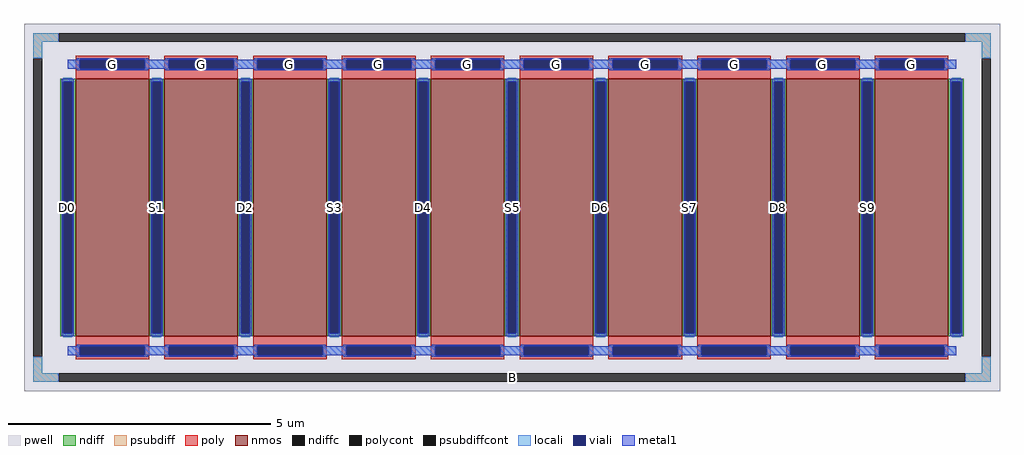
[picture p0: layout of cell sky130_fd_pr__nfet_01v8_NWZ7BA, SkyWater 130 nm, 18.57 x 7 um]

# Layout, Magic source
magic
tech sky130A
magscale 1 2
<< pwell >>
rect -1857 -700 1857 700
<< nmos >>
rect -1661 -490 -1381 490
rect -1323 -490 -1043 490
rect -985 -490 -705 490
rect -647 -490 -367 490
rect -309 -490 -29 490
rect 29 -490 309 490
rect 367 -490 647 490
rect 705 -490 985 490
rect 1043 -490 1323 490
rect 1381 -490 1661 490
<< ndiff >>
rect -1719 478 -1661 490
rect -1719 -478 -1707 478
rect -1673 -478 -1661 478
rect -1719 -490 -1661 -478
rect -1381 478 -1323 490
rect -1381 -478 -1369 478
rect -1335 -478 -1323 478
rect -1381 -490 -1323 -478
rect -1043 478 -985 490
rect -1043 -478 -1031 478
rect -997 -478 -985 478
rect -1043 -490 -985 -478
rect -705 478 -647 490
rect -705 -478 -693 478
rect -659 -478 -647 478
rect -705 -490 -647 -478
rect -367 478 -309 490
rect -367 -478 -355 478
rect -321 -478 -309 478
rect -367 -490 -309 -478
rect -29 478 29 490
rect -29 -478 -17 478
rect 17 -478 29 478
rect -29 -490 29 -478
rect 309 478 367 490
rect 309 -478 321 478
rect 355 -478 367 478
rect 309 -490 367 -478
rect 647 478 705 490
rect 647 -478 659 478
rect 693 -478 705 478
rect 647 -490 705 -478
rect 985 478 1043 490
rect 985 -478 997 478
rect 1031 -478 1043 478
rect 985 -490 1043 -478
rect 1323 478 1381 490
rect 1323 -478 1335 478
rect 1369 -478 1381 478
rect 1323 -490 1381 -478
rect 1661 478 1719 490
rect 1661 -478 1673 478
rect 1707 -478 1719 478
rect 1661 -490 1719 -478
<< ndiffc >>
rect -1707 -478 -1673 478
rect -1369 -478 -1335 478
rect -1031 -478 -997 478
rect -693 -478 -659 478
rect -355 -478 -321 478
rect -17 -478 17 478
rect 321 -478 355 478
rect 659 -478 693 478
rect 997 -478 1031 478
rect 1335 -478 1369 478
rect 1673 -478 1707 478
<< psubdiff >>
rect -1821 630 -1725 664
rect 1725 630 1821 664
rect -1821 568 -1787 630
rect 1787 568 1821 630
rect -1821 -630 -1787 -568
rect 1787 -630 1821 -568
rect -1821 -664 -1725 -630
rect 1725 -664 1821 -630
<< psubdiffcont >>
rect -1725 630 1725 664
rect -1821 -568 -1787 568
rect 1787 -568 1821 568
rect -1725 -664 1725 -630
<< poly >>
rect -1661 562 -1381 578
rect -1661 528 -1645 562
rect -1397 528 -1381 562
rect -1661 490 -1381 528
rect -1323 562 -1043 578
rect -1323 528 -1307 562
rect -1059 528 -1043 562
rect -1323 490 -1043 528
rect -985 562 -705 578
rect -985 528 -969 562
rect -721 528 -705 562
rect -985 490 -705 528
rect -647 562 -367 578
rect -647 528 -631 562
rect -383 528 -367 562
rect -647 490 -367 528
rect -309 562 -29 578
rect -309 528 -293 562
rect -45 528 -29 562
rect -309 490 -29 528
rect 29 562 309 578
rect 29 528 45 562
rect 293 528 309 562
rect 29 490 309 528
rect 367 562 647 578
rect 367 528 383 562
rect 631 528 647 562
rect 367 490 647 528
rect 705 562 985 578
rect 705 528 721 562
rect 969 528 985 562
rect 705 490 985 528
rect 1043 562 1323 578
rect 1043 528 1059 562
rect 1307 528 1323 562
rect 1043 490 1323 528
rect 1381 562 1661 578
rect 1381 528 1397 562
rect 1645 528 1661 562
rect 1381 490 1661 528
rect -1661 -528 -1381 -490
rect -1661 -562 -1645 -528
rect -1397 -562 -1381 -528
rect -1661 -578 -1381 -562
rect -1323 -528 -1043 -490
rect -1323 -562 -1307 -528
rect -1059 -562 -1043 -528
rect -1323 -578 -1043 -562
rect -985 -528 -705 -490
rect -985 -562 -969 -528
rect -721 -562 -705 -528
rect -985 -578 -705 -562
rect -647 -528 -367 -490
rect -647 -562 -631 -528
rect -383 -562 -367 -528
rect -647 -578 -367 -562
rect -309 -528 -29 -490
rect -309 -562 -293 -528
rect -45 -562 -29 -528
rect -309 -578 -29 -562
rect 29 -528 309 -490
rect 29 -562 45 -528
rect 293 -562 309 -528
rect 29 -578 309 -562
rect 367 -528 647 -490
rect 367 -562 383 -528
rect 631 -562 647 -528
rect 367 -578 647 -562
rect 705 -528 985 -490
rect 705 -562 721 -528
rect 969 -562 985 -528
rect 705 -578 985 -562
rect 1043 -528 1323 -490
rect 1043 -562 1059 -528
rect 1307 -562 1323 -528
rect 1043 -578 1323 -562
rect 1381 -528 1661 -490
rect 1381 -562 1397 -528
rect 1645 -562 1661 -528
rect 1381 -578 1661 -562
<< polycont >>
rect -1645 528 -1397 562
rect -1307 528 -1059 562
rect -969 528 -721 562
rect -631 528 -383 562
rect -293 528 -45 562
rect 45 528 293 562
rect 383 528 631 562
rect 721 528 969 562
rect 1059 528 1307 562
rect 1397 528 1645 562
rect -1645 -562 -1397 -528
rect -1307 -562 -1059 -528
rect -969 -562 -721 -528
rect -631 -562 -383 -528
rect -293 -562 -45 -528
rect 45 -562 293 -528
rect 383 -562 631 -528
rect 721 -562 969 -528
rect 1059 -562 1307 -528
rect 1397 -562 1645 -528
<< locali >>
rect -1821 630 -1725 664
rect 1725 630 1821 664
rect -1821 568 -1787 630
rect 1787 568 1821 630
rect -1690 528 -1645 562
rect -1397 528 -1307 562
rect -1059 528 -969 562
rect -721 528 -631 562
rect -383 528 -293 562
rect -45 528 45 562
rect 293 528 383 562
rect 631 528 721 562
rect 969 528 1059 562
rect 1307 528 1397 562
rect 1645 528 1690 562
rect -1707 478 -1673 494
rect -1707 -494 -1673 -478
rect -1369 478 -1335 494
rect -1369 -494 -1335 -478
rect -1031 478 -997 494
rect -1031 -494 -997 -478
rect -693 478 -659 494
rect -693 -494 -659 -478
rect -355 478 -321 494
rect -355 -494 -321 -478
rect -17 478 17 494
rect -17 -494 17 -478
rect 321 478 355 494
rect 321 -494 355 -478
rect 659 478 693 494
rect 659 -494 693 -478
rect 997 478 1031 494
rect 997 -494 1031 -478
rect 1335 478 1369 494
rect 1335 -494 1369 -478
rect 1673 478 1707 494
rect 1673 -494 1707 -478
rect -1690 -562 -1645 -528
rect -1397 -562 -1307 -528
rect -1059 -562 -969 -528
rect -721 -562 -631 -528
rect -383 -562 -293 -528
rect -45 -562 45 -528
rect 293 -562 383 -528
rect 631 -562 721 -528
rect 969 -562 1059 -528
rect 1307 -562 1397 -528
rect 1645 -562 1690 -528
rect -1821 -630 -1787 -568
rect 1787 -630 1821 -568
rect -1821 -664 -1725 -630
rect 1725 -664 1821 -630
<< viali >>
rect -1645 528 -1397 562
rect -1307 528 -1059 562
rect -969 528 -721 562
rect -631 528 -383 562
rect -293 528 -45 562
rect 45 528 293 562
rect 383 528 631 562
rect 721 528 969 562
rect 1059 528 1307 562
rect 1397 528 1645 562
rect -1707 -478 -1673 478
rect -1369 -478 -1335 478
rect -1031 -478 -997 478
rect -693 -478 -659 478
rect -355 -478 -321 478
rect -17 -478 17 478
rect 321 -478 355 478
rect 659 -478 693 478
rect 997 -478 1031 478
rect 1335 -478 1369 478
rect 1673 -478 1707 478
rect -1645 -562 -1397 -528
rect -1307 -562 -1059 -528
rect -969 -562 -721 -528
rect -631 -562 -383 -528
rect -293 -562 -45 -528
rect 45 -562 293 -528
rect 383 -562 631 -528
rect 721 -562 969 -528
rect 1059 -562 1307 -528
rect 1397 -562 1645 -528
<< metal1 >>
rect -1657 562 -1385 568
rect -1319 562 -1047 568
rect -981 562 -709 568
rect -643 562 -371 568
rect -305 562 -33 568
rect 33 562 305 568
rect 371 562 643 568
rect 709 562 981 568
rect 1047 562 1319 568
rect 1385 562 1657 568
rect -1690 528 -1645 562
rect -1397 528 -1307 562
rect -1059 528 -969 562
rect -721 528 -631 562
rect -383 528 -293 562
rect -45 528 45 562
rect 293 528 383 562
rect 631 528 721 562
rect 969 528 1059 562
rect 1307 528 1397 562
rect 1645 528 1690 562
rect -1657 522 -1385 528
rect -1319 522 -1047 528
rect -981 522 -709 528
rect -643 522 -371 528
rect -305 522 -33 528
rect 33 522 305 528
rect 371 522 643 528
rect 709 522 981 528
rect 1047 522 1319 528
rect 1385 522 1657 528
rect -1713 478 -1667 490
rect -1713 -478 -1707 478
rect -1673 -478 -1667 478
rect -1713 -490 -1667 -478
rect -1375 478 -1329 490
rect -1375 -478 -1369 478
rect -1335 -478 -1329 478
rect -1375 -490 -1329 -478
rect -1037 478 -991 490
rect -1037 -478 -1031 478
rect -997 -478 -991 478
rect -1037 -490 -991 -478
rect -699 478 -653 490
rect -699 -478 -693 478
rect -659 -478 -653 478
rect -699 -490 -653 -478
rect -361 478 -315 490
rect -361 -478 -355 478
rect -321 -478 -315 478
rect -361 -490 -315 -478
rect -23 478 23 490
rect -23 -478 -17 478
rect 17 -478 23 478
rect -23 -490 23 -478
rect 315 478 361 490
rect 315 -478 321 478
rect 355 -478 361 478
rect 315 -490 361 -478
rect 653 478 699 490
rect 653 -478 659 478
rect 693 -478 699 478
rect 653 -490 699 -478
rect 991 478 1037 490
rect 991 -478 997 478
rect 1031 -478 1037 478
rect 991 -490 1037 -478
rect 1329 478 1375 490
rect 1329 -478 1335 478
rect 1369 -478 1375 478
rect 1329 -490 1375 -478
rect 1667 478 1713 490
rect 1667 -478 1673 478
rect 1707 -478 1713 478
rect 1667 -490 1713 -478
rect -1657 -528 -1385 -522
rect -1319 -528 -1047 -522
rect -981 -528 -709 -522
rect -643 -528 -371 -522
rect -305 -528 -33 -522
rect 33 -528 305 -522
rect 371 -528 643 -522
rect 709 -528 981 -522
rect 1047 -528 1319 -522
rect 1385 -528 1657 -522
rect -1690 -562 -1645 -528
rect -1397 -562 -1307 -528
rect -1059 -562 -969 -528
rect -721 -562 -631 -528
rect -383 -562 -293 -528
rect -45 -562 45 -528
rect 293 -562 383 -528
rect 631 -562 721 -528
rect 969 -562 1059 -528
rect 1307 -562 1397 -528
rect 1645 -562 1690 -528
rect -1657 -568 -1385 -562
rect -1319 -568 -1047 -562
rect -981 -568 -709 -562
rect -643 -568 -371 -562
rect -305 -568 -33 -562
rect 33 -568 305 -562
rect 371 -568 643 -562
rect 709 -568 981 -562
rect 1047 -568 1319 -562
rect 1385 -568 1657 -562
<< labels >>
rlabel psubdiffcont 0 -647 0 -647 0 B
port 1 nsew
rlabel ndiffc -1690 0 -1690 0 0 D0
port 2 nsew
rlabel polycont -1521 545 -1521 545 0 G
port 3 nsew
rlabel ndiffc -1352 0 -1352 0 0 S1
port 4 nsew
rlabel polycont -1183 545 -1183 545 0 G
port 3 nsew
rlabel ndiffc -1014 0 -1014 0 0 D2
port 5 nsew
rlabel polycont -845 545 -845 545 0 G
port 3 nsew
rlabel ndiffc -676 0 -676 0 0 S3
port 6 nsew
rlabel polycont -507 545 -507 545 0 G
port 3 nsew
rlabel ndiffc -338 0 -338 0 0 D4
port 7 nsew
rlabel polycont -169 545 -169 545 0 G
port 3 nsew
rlabel ndiffc 0 0 0 0 0 S5
port 8 nsew
rlabel polycont 169 545 169 545 0 G
port 3 nsew
rlabel ndiffc 338 0 338 0 0 D6
port 9 nsew
rlabel polycont 507 545 507 545 0 G
port 3 nsew
rlabel ndiffc 676 0 676 0 0 S7
port 10 nsew
rlabel polycont 845 545 845 545 0 G
port 3 nsew
rlabel ndiffc 1014 0 1014 0 0 D8
port 11 nsew
rlabel polycont 1183 545 1183 545 0 G
port 3 nsew
rlabel ndiffc 1352 0 1352 0 0 S9
port 12 nsew
rlabel polycont 1521 545 1521 545 0 G
port 3 nsew
<< properties >>
string FIXED_BBOX -1804 -647 1804 647
string gencell sky130_fd_pr__nfet_01v8
string library sky130
string parameters w 4.9 l 1.4 m 1 nf 10 diffcov 100 polycov 100 guard 1 glc 1 grc 1 gtc 1 gbc 1 tbcov 100 rlcov 100 topc 1 botc 1 poverlap 0 doverlap 1 lmin 0.15 wmin 0.42 class mosfet compatible {sky130_fd_pr__nfet_01v8 sky130_fd_pr__nfet_01v8_lvt  sky130_fd_bs_flash__special_sonosfet_star  sky130_fd_pr__nfet_g5v0d10v5 sky130_fd_pr__nfet_05v0_nvt  sky130_fd_pr__nfet_03v3_nvt} full_metal 1 conn_gates 1 viasrc 100 viadrn 100 viagate 100 viagb 0 viagr 0 viagl 0 viagt 0 doports 1
<< end >>
